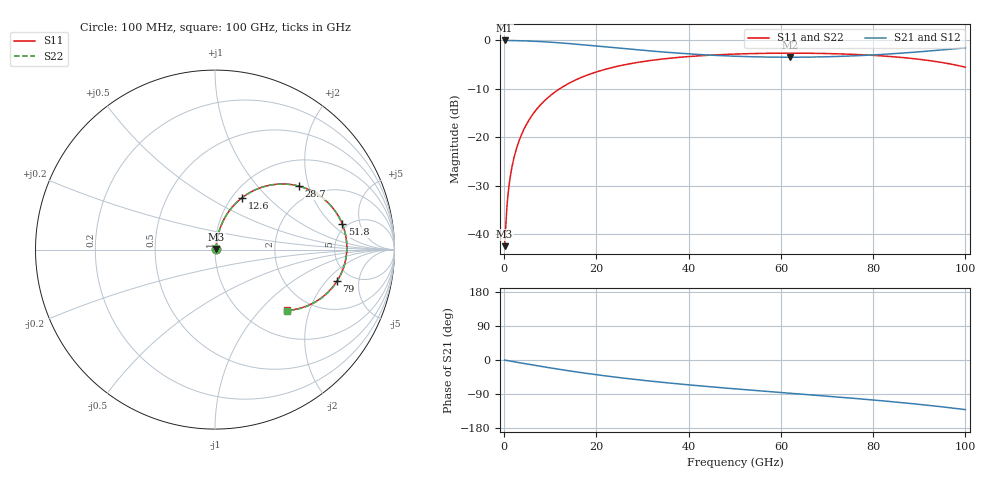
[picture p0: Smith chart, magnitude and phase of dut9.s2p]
! Touchstone file exported from HFSS 2026.1.0
!  File:  C:/ffzhzh/LocalFiles/Ansys_Project_Files/temp_train_RDL_9_1783497620_9504.aedt
!  Generated:  04:01:22 PM Jul  8, 2026
!  Design:  RDL
!  Project:  temp_train_RDL_9_1783497620_9504
! Variables:
!  h_bsmrdl = 2um
!  h_ox = 20um
!  h_rdl = 5um
!  h_sub = 80um
!  h_tmrdl = 2.03um
!  h_tsv = 80um
!  h_via = 3um
!  l_bsmrdl = 300um
!  l_sub = 857.28um
!  l_tmrdl = 457.28um
!  m_sub = 200um
!  pitch = 51.48um
!  r_tsv = 6um
!  s_tmrdl = 10um
!  w_bsmrdl = 18um
!  w_sub = 500um
!  w_tmrdl = 11.74um
!  x_tsv_center1 = 463.15um
!  x_tsv_center2 = 781.15um
!  x_tsv_center3 = 1250.17um
!  x_tsv_center4 = 1568.17um
!  x_tsv_center5 = 2037.19um
!  x_tsv_center6 = 2355.19um
# GHz S MA R 50.000000
! Terminal data exported
! Port[1] = TM_RDL1_1_T1
! Port[2] = TM_RDL1_1_T2
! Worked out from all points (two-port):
!   1000 points, 100 MHz to 100 GHz, reference 50 ohm
!   highest |S21| = -0.06 dB at 100 MHz (marker M1); lowest = -3.5 dB at 61.9 GHz (marker M2)
!   |S21| within 3 dB of the highest: start of sweep to 44.16 GHz; 79.67 GHz to end of sweep
!   lowest |S11| = -42.5 dB at 100 MHz (marker M3), VSWR 1.02, Z = 50.7 + j0.298 ohm
!   |S11| at or under -10 dB: start of sweep to 12.08 GHz
!   |S22| runs from -42.5 to -2.7 dB; largest |S21 - S12| = 1.4e-14
!   S11 on the Smith chart (normalised r, x): 100 MHz: 1.01, +0.01; 12.6 GHz: 1.11, +0.72; 28.7 GHz: 1.61, +1.74; 51.8 GHz: 4.54, +2.72; 79 GHz: 3.78, -2.63; 100 GHz: 1.54, -1.44
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0.1  0.007495 23.1  0.9931 -0.2  0.9931 -0.2  0.007495 23.1
! Gamma 0 0 0 0
! Port Impedance 50 0 50 0
0.4  0.01374 58.2  0.9929 -0.9  0.9929 -0.9  0.01374 58.2
0.9  0.02722 72.0  0.9922 -2.0  0.9922 -2.0  0.02722 72.0
1.5  0.04377 76.3  0.9911 -3.3  0.9911 -3.3  0.04377 76.3
2.4  0.06861 77.9  0.9894 -5.2  0.9894 -5.2  0.06861 77.9
3.5  0.09885 77.5  0.9865 -7.5  0.9865 -7.5  0.09885 77.5
5.1  0.1423 75.5  0.9809 -10.9  0.9809 -10.9  0.1423 75.5
7.1  0.1951 72.2  0.9714 -15.0  0.9714 -15.0  0.1951 72.2
9.6  0.2579 67.8  0.9562 -20.0  0.9562 -20.0  0.2579 67.7
12.6  0.3277 62.3  0.934 -25.8  0.934 -25.8  0.3277 62.3
16.8  0.4138 55.0  0.8986 -33.4  0.8986 -33.4  0.4138 54.9
22.4  0.5074 46.0  0.849 -42.6  0.849 -42.6  0.5074 45.9
28.7  0.5869 37.0  0.7964 -51.7  0.7964 -51.7  0.587 37.0
33.4  0.6316 31.0  0.762 -57.8  0.762 -57.8  0.6316 31.0
50.1  0.719 13.0  0.6826 -76.2  0.6826 -76.2  0.719 12.9
51.8  0.7232 11.4  0.6783 -77.9  0.6783 -77.9  0.7233 11.3
61.9  0.7347 1.9  0.6667 -87.6  0.6667 -87.6  0.7348 1.8
66.7  0.7324 -2.6  0.6693 -92.2  0.6693 -92.2  0.7324 -2.7
79  0.7015 -14.6  0.7003 -104.5  0.7003 -104.5  0.7016 -14.8
83.4  0.6802 -19.3  0.7202 -109.3  0.7202 -109.3  0.6802 -19.5
91.4  0.6227 -28.5  0.7679 -118.9  0.7679 -118.9  0.6228 -28.8
100  0.5263 -40.0  0.8333 -131.0  0.8333 -131.0  0.5263 -40.4
